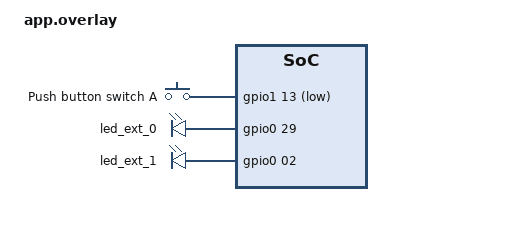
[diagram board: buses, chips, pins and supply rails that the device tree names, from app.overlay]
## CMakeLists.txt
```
#
# Copyright (c) 2021 Nordic Semiconductor
#
# SPDX-License-Identifier: LicenseRef-Nordic-5-Clause
#
cmake_minimum_required(VERSION 3.20)

find_package(Zephyr REQUIRED HINTS $ENV{ZEPHYR_BASE})
project(Sample1)

# NORDIC SDK APP START
target_sources(app PRIVATE
  src/battery_monitor.c
  src/ble_manager.c
  src/button_monitor.c
  src/main.c
  src/my_gpio.c
  )
# NORDIC SDK APP END

zephyr_library_include_directories(${CMAKE_CURRENT_SOURCE_DIR})
```

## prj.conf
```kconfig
#
# Copyright (c) 2021 Nordic Semiconductor ASA
#
# SPDX-License-Identifier: LicenseRef-Nordic-5-Clause
#

CONFIG_NCS_SAMPLES_DEFAULTS=y

# Enable the NUS service
CONFIG_BT_NUS=y

CONFIG_BT=y
CONFIG_BT_PERIPHERAL=y
CONFIG_BT_DEVICE_NAME="WAPA"
CONFIG_BT_DEVICE_APPEARANCE=512
CONFIG_BT_DEVICE_NAME_DYNAMIC=y

CONFIG_BT_EXT_ADV=y
CONFIG_BT_EXT_ADV_MAX_ADV_SET=2

CONFIG_BT_DIS=y
CONFIG_BT_DIS_PNP=y
CONFIG_BT_DIS_MANUF="Nordic Semiconductor ASA"
CONFIG_BT_DIS_PNP_VID_SRC=2
CONFIG_BT_DIS_PNP_VID=0x1915
CONFIG_BT_DIS_PNP_PID=0xEEF1
CONFIG_BT_DIS_PNP_VER=0x0100

CONFIG_DK_LIBRARY=y

# Enable ADC
CONFIG_NRFX_SAADC=y

#PHY update needed for updating PHY request
CONFIG_BT_CTLR_PHY_CODED=y
CONFIG_BT_CTLR_ADV_EXT=y
CONFIG_BT_EXT_ADV=y
CONFIG_BT_USER_PHY_UPDATE=y

# Adjust connection interval, timout, and latency, and automatically request update
#  * 1.25ms = 500ms
 # 1600 * 1.25ms = 2000ms
 # 700 * 10ms = 7000ms
CONFIG_BT_GAP_AUTO_UPDATE_CONN_PARAMS=y
CONFIG_BT_PERIPHERAL_PREF_MIN_INT=24 
CONFIG_BT_PERIPHERAL_PREF_MAX_INT=80
CONFIG_BT_PERIPHERAL_PREF_LATENCY=0
CONFIG_BT_PERIPHERAL_PREF_TIMEOUT= 100 
```

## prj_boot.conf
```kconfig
#
# Copyright (c) 2021 Nordic Semiconductor ASA
#
# SPDX-License-Identifier: LicenseRef-Nordic-5-Clause
#

CONFIG_NCS_SAMPLES_DEFAULTS=y

# Enable the NUS service
CONFIG_BT_NUS=y

CONFIG_BT=y
CONFIG_BT_PERIPHERAL=y
CONFIG_BT_DEVICE_NAME="WAPA"
CONFIG_BT_DEVICE_APPEARANCE=512
CONFIG_BT_DEVICE_NAME_DYNAMIC=y

CONFIG_BT_EXT_ADV=y
CONFIG_BT_EXT_ADV_MAX_ADV_SET=2

CONFIG_BT_DIS=y
CONFIG_BT_DIS_PNP=y
CONFIG_BT_DIS_MANUF="Nordic Semiconductor ASA"
CONFIG_BT_DIS_PNP_VID_SRC=2
CONFIG_BT_DIS_PNP_VID=0x1915
CONFIG_BT_DIS_PNP_PID=0xEEF1
CONFIG_BT_DIS_PNP_VER=0x0100

# Access to DK libraries
CONFIG_DK_LIBRARY=y

# Enable ADC
CONFIG_NRFX_SAADC=y

# DEBUG
CONFIG_DEBUG=y
CONFIG_DEBUG_OPTIMIZATIONS=y
CONFIG_DEBUG_THREAD_INFO=y

# Program with J-link
CONFIG_BOARD_HAS_NRF5_BOOTLOADER=n

# PHY update needed for updating PHY request
CONFIG_BT_CTLR_PHY_CODED=y
CONFIG_BT_CTLR_ADV_EXT=y
CONFIG_BT_EXT_ADV=y
CONFIG_BT_USER_PHY_UPDATE=y

# Adjust connection interval, timout, and latency, and automatically request update
# 400 * 1.25ms = 500ms
 # 1600 * 1.25ms = 2000ms
 # 700 * 10ms = 7000ms
CONFIG_BT_GAP_AUTO_UPDATE_CONN_PARAMS=y
CONFIG_BT_PERIPHERAL_PREF_MIN_INT=400 
CONFIG_BT_PERIPHERAL_PREF_MAX_INT=1600
CONFIG_BT_PERIPHERAL_PREF_LATENCY=0
CONFIG_BT_PERIPHERAL_PREF_TIMEOUT= 700 
```

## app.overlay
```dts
/*
 * Copyright (c) 2023 Nordic Semiconductor ASA
 *
 * SPDX-License-Identifier: LicenseRef-Nordic-5-Clause
 */

/ {
	/* The timer instance to use. */
	chosen {
		ncs,dm-timer = &timer2;
	};

	buttons {
		compatible = "gpio-keys";
		buttonA: buttonA_subnode {
			gpios = <&gpio1 13 (GPIO_PULL_UP | GPIO_ACTIVE_LOW)>;
			label = "Push button switch A";
			zephyr,code = <INPUT_KEY_0>;
		};
	};

	leds {
		led_ext_0 {
			gpios = <&gpio0 29 0>;
		};

		led_ext_1 {
			gpios = <&gpio0 02 0>;
		};
	};
};
```

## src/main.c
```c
#include "my_gpio.h"
#include "ble_manager.h"
#include "battery_monitor.h"
#include "button_monitor.h"

const int battery_check_period_sec = 3600;

int main(void)
{
	// Initialize GPIO
    leds_init();
	buttons_init(handler);

	// Initialize BLE
	setup_ble();

	// Initialize battery monitor
    struct k_timer my_timer;
    init_saadc(&my_timer,battery_check_period_sec);

	while(1){
		k_sleep(K_MSEC(1000));
        set_led_on(LED_INT_GREEN);
        k_sleep(K_MSEC(1000));
        set_led_off(LED_INT_GREEN);
	}    
}

// Handle detected sequences of button presses
K_THREAD_DEFINE(hpm, 1024, hold_press_monitor, NULL, NULL,
		NULL, 7, 0, 0);
K_THREAD_DEFINE(tpm, 1024, triple_press_monitor, NULL, NULL,
	NULL, 7, 0, 0);
K_THREAD_DEFINE(crm, 1024, connection_request_monitor, NULL, NULL,
	NULL, 7, 0, 0);
```

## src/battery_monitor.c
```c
#include <nrfx_saadc.h>
#include <zephyr/kernel.h>
#include "my_gpio.h"

#define SAADC_CHANNEL_COUNT   1

#define VDD_CHANNEL 0
#define LIM_L   2275  // 2.0V TODO define in terms of res,refV, gain

static nrfx_saadc_channel_t channels[SAADC_CHANNEL_COUNT] = {NRFX_SAADC_DEFAULT_CHANNEL_SE(NRF_SAADC_INPUT_VDD, VDD_CHANNEL)};
static nrf_saadc_value_t samples[SAADC_CHANNEL_COUNT];


static void saadc_handler(nrfx_saadc_evt_t const * p_event)
{
    if (p_event->type == NRFX_SAADC_EVT_DONE)
    {
        if (p_event->data.done.p_buffer[0] < LIM_L)
        {
            set_led_on(LED_WARNING);
        }
        else
        {
            set_led_off(LED_WARNING);
        }
    }
}

void my_timer_handler(struct k_timer *dummy)
{
    nrfx_saadc_mode_trigger();
}

int init_saadc(struct k_timer *reading_timer, int period_sec)
{
    int err_code;

    err_code = nrfx_saadc_init(7);
    

	#if defined(__ZEPHYR__)
        IRQ_DIRECT_CONNECT(NRFX_IRQ_NUMBER_GET(NRF_SAADC), IRQ_PRIO_LOWEST, nrfx_saadc_irq_handler, 0);
    #endif

 
    channels[0].channel_config.gain = NRF_SAADC_GAIN1_6;
    
    
    err_code = nrfx_saadc_channels_config(channels, SAADC_CHANNEL_COUNT);
    
    err_code = nrfx_saadc_simple_mode_set((1<<0),
											NRF_SAADC_RESOLUTION_12BIT,
											NRF_SAADC_OVERSAMPLE_DISABLED,
											saadc_handler);

	
	err_code = nrfx_saadc_buffer_set(samples, SAADC_CHANNEL_COUNT);

   
    k_timer_init (reading_timer,my_timer_handler, NULL);
	k_timer_start(reading_timer, K_SECONDS(period_sec), K_SECONDS(period_sec));
    
    return 0;
}
```

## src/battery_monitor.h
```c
#ifndef _H_BATTERY_MONITOR__
#define _H_BATTERY_MONITOR__
#include <zephyr/kernel.h>

int init_saadc(struct k_timer *reading_timer, int period_sec);

#endif // _H_BATTERY_MONITOR__
```

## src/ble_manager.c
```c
#include <zephyr/bluetooth/bluetooth.h>
#include <zephyr/bluetooth/conn.h>
#include <zephyr/bluetooth/uuid.h>
#include <bluetooth/services/nus.h>

#include "ble_manager.h"
#include "my_gpio.h"
#include "button_monitor.h"

#define NON_CONNECTABLE_ADV_IDX 0
#define CONNECTABLE_ADV_IDX     1

#define UART_BUF_SIZE 5

bool okayed_by_user = false;
char last_addr[BT_ADDR_LE_STR_LEN];


struct bt_conn *most_recent_conn = NULL;

static void advertising_work_handle(struct k_work *work);

static K_WORK_DEFINE(advertising_work, advertising_work_handle);

static struct bt_le_ext_adv *ext_adv[CONFIG_BT_EXT_ADV_MAX_ADV_SET];

static const struct bt_le_adv_param *connectable_adv_param =
	BT_LE_ADV_PARAM(BT_LE_ADV_OPT_CONNECTABLE | BT_LE_ADV_OPT_USE_NAME | BT_LE_ADV_OPT_EXT_ADV | BT_LE_ADV_OPT_CODED,
			BT_GAP_ADV_FAST_INT_MIN_2, /* 100 ms */
			BT_GAP_ADV_FAST_INT_MAX_2, /* 150 ms */
			NULL);

static const struct bt_data connectable_data[] = {
	BT_DATA_BYTES(BT_DATA_FLAGS, BT_LE_AD_GENERAL | BT_LE_AD_NO_BREDR),
	BT_DATA_BYTES(BT_DATA_UUID16_ALL, BT_UUID_16_ENCODE(BT_UUID_DIS_VAL))
};

#define BT_UUID_MYID_SERV_VAL \
BT_UUID_128_ENCODE(0x6e4073a1, 0xb5a3, 0xf393, 0xe0a9, 0xe50e24dcca9e)
#define BT_UUID_MYID_SERV BT_UUID_DECLARE_128(BT_UUID_MYID_SERV_VAL)

#define BT_UUID_MYID_CHAR_VAL \
BT_UUID_128_ENCODE(0x6e4003a1, 0xb5a3, 0xf393, 0xe0a9, 0xe50e24dcca9e)
#define BT_UUID_MYID_CHAR BT_UUID_DECLARE_128(BT_UUID_MYID_CHAR_VAL)

uint64_t myid = 0x0000000000000000;

char state = 'U';

static void adv_connected_cb(struct bt_le_ext_adv *adv,
			     struct bt_le_ext_adv_connected_info *info)
{
	printk("Advertiser[%d] %p connected conn %p\n", bt_le_ext_adv_get_index(adv),
		adv, info->conn);
}

static const struct bt_le_ext_adv_cb adv_cb = {
	.connected = adv_connected_cb
};

static void connectable_adv_start(void)
{
	int err;

	err = bt_le_ext_adv_start(ext_adv[CONNECTABLE_ADV_IDX], BT_LE_EXT_ADV_START_DEFAULT);
	if (err) {
		printk("Failed to start connectable advertising (err %d)\n", err);
	}
}

static void advertising_work_handle(struct k_work *work)
{
	connectable_adv_start();
}

static void connected(struct bt_conn *conn, uint8_t err)
{
	char addr[BT_ADDR_LE_STR_LEN];

	if (err) {
		printk("Connection failed (err %u)\n", err);
		return;
	}

	bt_addr_le_to_str(bt_conn_get_dst(conn), addr, sizeof(addr));

	printk("Connected %s\n", addr);

	err = bt_conn_le_phy_update(conn, BT_CONN_LE_PHY_PARAM_CODED);
	if (err) {
		printk("Phy update request failed: %d",  err);
	}
	else {
		printk("Phy update request succeeded");
	}

	state = 'C';
	most_recent_conn = conn;
	
	k_sem_give(&new_cnx);
}

static void disconnected(struct bt_conn *conn, uint8_t reason)
{
	char addr[BT_ADDR_LE_STR_LEN];

	bt_addr_le_to_str(bt_conn_get_dst(conn), addr, sizeof(addr));

	printk("Disconnected: %s (reason %u)\n", addr, reason);

	/* Process the disconnect logic in the workqueue so that
	 * the BLE stack is finished with the connection bookkeeping
	 * logic and advertising is possible.
	 */
	k_work_submit(&advertising_work);

	state = 'U';
	set_led_off(LED_STATUS);
}

BT_CONN_CB_DEFINE(conn_callbacks) = {
	.connected = connected,
	.disconnected = disconnected,
};

static int advertising_set_create(struct bt_le_ext_adv **adv,
				  const struct bt_le_adv_param *param,
				  const struct bt_data *ad, size_t ad_len)
{
	int err;
	struct bt_le_ext_adv *adv_set;

	err = bt_le_ext_adv_create(param, &adv_cb,
				   adv);
	if (err) {
		return err;
	}

	adv_set = *adv;

	printk("Created adv: %p\n", adv_set);

	err = bt_le_ext_adv_set_data(adv_set, ad, ad_len,
				     NULL, 0);
	if (err) {
		printk("Failed to set advertising data (err %d)\n", err);
		return err;
	}

	return bt_le_ext_adv_start(adv_set, BT_LE_EXT_ADV_START_DEFAULT);
}

// creates connectable advertisement
static int connectable_adv_create(void)
{
	int err;

	err = bt_set_name(CONFIG_BT_DEVICE_NAME);
	if (err) {
		printk("Failed to set device name (err %d)\n", err);
		return err;
	}

	err = advertising_set_create(&ext_adv[CONNECTABLE_ADV_IDX], connectable_adv_param,
				     connectable_data, ARRAY_SIZE(connectable_data));
	if (err) {
		printk("Failed to create a connectable advertising set (err %d)\n", err);
	}

	return err;
}

static void bt_receive_cb(struct bt_conn *conn, const uint8_t *const data,
			  uint16_t len)
{
	set_led(LED_INT_RGB_GREEN, 1);
}

static struct bt_nus_cb nus_cb = {
	.received = bt_receive_cb,
	.send_enabled = BT_NUS_SEND_STATUS_ENABLED,
};


static ssize_t read_vnd(struct bt_conn *conn, const struct bt_gatt_attr *attr,
   void *buf, uint16_t len, uint16_t offset){

 return bt_gatt_attr_read(conn, attr, buf, len, offset, &myid,
     8);
}

BT_GATT_SERVICE_DEFINE(myid_svc,
  BT_GATT_PRIMARY_SERVICE(BT_UUID_MYID_SERV),
  BT_GATT_CHARACTERISTIC(BT_UUID_MYID_CHAR,
			       BT_GATT_CHRC_BROADCAST | BT_GATT_CHRC_READ,
			       BT_GATT_PERM_READ,
				   read_vnd, NULL, NULL),
);


int setup_ble(void){
	int err = bt_enable(NULL); // enabling BT done synchronously
	if (err) {
		printk("Bluetooth init failed (err %d)\n", err);
		return 1;
	}
	printk("Bluetooth initialized\n");

	err = bt_nus_init(&nus_cb);
	if (err) {
		printk("Failed to initialize UART service (err %d)\n", err);
		return 1;
	}
	printk("UART service initialized\n");

	// get device's unique id
	uint32_t a = NRF_FICR->DEVICEID[0];
	uint32_t b = NRF_FICR->DEVICEID[1] & 0x0000FFFF;
	myid = (((uint64_t) b) << 32) | a;

	err = connectable_adv_create();
	if (err) {
		printk("Failed to create connectable advertising (err %d)\n", err);
		return 1;
	}
	return 0;
}

// TODO - in future support reaching out to "strangers" if we cant connect to user 
bool send_msg(uint8_t *data,uint16_t len){
	int64_t beg_time = k_uptime_get();
	while (bt_nus_send(NULL, data, len)){
		if (k_uptime_get() - beg_time > 5000){
			printk("Failed to send message\n");
			error_lights();
			return false;
		}
	}
	return true;
}	



void connection_request_monitor(void){
	for (;;) {
		k_sem_take(&new_cnx, K_FOREVER);

		int countdown = 10;
		okayed_by_user = false;
		while(!okayed_by_user){
			set_led_off(LED_STATUS);
			set_led_off(LED_WARNING);
			k_sleep(K_MSEC(1000));
			set_led_on(LED_STATUS);
			set_led_on(LED_WARNING);
			k_sleep(K_MSEC(1000));
			
			if (countdown-- == 0){
				bt_conn_disconnect(most_recent_conn, BT_HCI_ERR_REMOTE_USER_TERM_CONN);
				set_led_off(LED_STATUS);
				set_led_off(LED_WARNING);
				break;
			}
		}
		set_led_off(LED_WARNING);
	}
}
```

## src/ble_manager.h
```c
#ifndef BLE_MANAGER_H__
#define BLE_MANAGER_H__
#include <zephyr/kernel.h>

static K_SEM_DEFINE(new_cnx, 0, 1);
void connection_request_monitor(void);

bool send_msg(uint8_t *data, uint16_t len);
int setup_ble(void);
#endif // BLE_MANAGER_H__s
```

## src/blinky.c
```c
/*
 * Copyright (c) 2021 Nordic Semiconductor ASA
 *
 * SPDX-License-Identifier: LicenseRef-Nordic-5-Clause
 */

/** @file
 *  @brief Nordic Distance Measurement sample
 */


#include <dk_buttons_and_leds.h>
#include <zephyr/kernel.h>


#define DEVICE_NAME             CONFIG_BT_DEVICE_NAME
#define DEVICE_NAME_LEN         (sizeof(DEVICE_NAME) - 1)

#define LED_A          DK_LED1
#define LED_B          DK_LED2
#define RUN_LED_BLINK_INTERVAL  1000 // delay between blinks in ms


int blinky_test(void)
{
	int err;
	uint32_t blink_status = 0;

	err = dk_leds_init();
	if (err) {
		return 0;
	}

	for (;;) {
		dk_set_led(LED_A, (blink_status++) % 2);
		dk_set_led(LED_B,(blink_status) % 2);
		k_sleep(K_MSEC(RUN_LED_BLINK_INTERVAL));
	}
}
```

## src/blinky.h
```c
int blinky_test(void);
```

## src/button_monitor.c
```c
#include "button_monitor.h"
#include "ble_manager.h"
#include "my_gpio.h"

int press_count = 0;
int press_start_time = 0;

char tp_msg[] = {'T','\0'};
char hp_msg[] = {'H','\0'};


void handler (uint32_t button_state, uint32_t has_changed) {
	int64_t current_time = k_uptime_get();

	if(has_changed & (BTN_INT_MSK | BTN_EXT_A_MSK)) { // on board button has changed states
		current_time = k_uptime_get();

		if(button_state & (BTN_INT_MSK | BTN_EXT_A_MSK)) { // pressed
			okayed_by_user = true;
			if (current_time - press_start_time > TRIPLE_PRESS_MAX_TIME) {
				press_count = 0;
			}
			++press_count;
			if(press_count == 1) {
				press_start_time = current_time;
			} else if (press_count == 3) {
				press_count = 0;
				if (current_time - press_start_time < TRIPLE_PRESS_MAX_TIME)
				k_sem_give(&triple_press);
			}
			
		} else { // released
			if (press_count == 1 && (current_time - press_start_time) > HOLD_PRESS_MIN_TIME && (current_time - press_start_time) < HOLD_PRESS_MAX_TIME){
				k_sem_give(&hold_press);
			}
		}
	} 
}

void hold_press_monitor(void){
	for (;;) {
		k_sem_take(&hold_press, K_FOREVER);

		if (send_msg(hp_msg,sizeof(hp_msg))){
			success_lights_alt();
		}
	}
}

void triple_press_monitor(void){
	for (;;) {
		k_sem_take(&triple_press, K_FOREVER);

		if(send_msg(tp_msg, sizeof(tp_msg))){
			success_lights();
		}
	}
}
```

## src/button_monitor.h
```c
#ifndef BUTTON_MONITOR_H__
#define BUTTON_MONITOR_H__

#include <zephyr/kernel.h>
#include "my_gpio.h"

// in milliseconds
#define TRIPLE_PRESS_MAX_TIME 2000
#define HOLD_PRESS_MIN_TIME   3000
#define HOLD_PRESS_MAX_TIME   6000

static K_SEM_DEFINE(hold_press, 0, 1);
static K_SEM_DEFINE(triple_press, 0, 1);

extern bool okayed_by_user;

void handler (uint32_t button_state, uint32_t has_changed);
void hold_press_monitor(void);
void triple_press_monitor(void);

#endif // BUTTON_MONITOR_H__
```

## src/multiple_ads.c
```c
/*
 * Copyright (c) 2021 Nordic Semiconductor ASA
 *
 * SPDX-License-Identifier: LicenseRef-Nordic-5-Clause
 */
#include "multiple_ads.h"
#include <zephyr/kernel.h>
#include <zephyr/sys/printk.h>

#include <zephyr/bluetooth/bluetooth.h>
#include <zephyr/bluetooth/conn.h>
#include <zephyr/bluetooth/uuid.h>

#include <zephyr/settings/settings.h>

#include <dk_buttons_and_leds.h>
#include <bluetooth/services/nus.h>

#define NON_CONNECTABLE_ADV_IDX 0
#define CONNECTABLE_ADV_IDX     1

#define SEND_LED          DK_LED1
#define CON_STATUS_LED          DK_LED2
#define RUN_LED_BLINK_INTERVAL  1000

#define UART_BUF_SIZE 8

#define NON_CONNECTABLE_DEVICE_NAME "Nordic Beacon"

static void advertising_work_handle(struct k_work *work);

static K_WORK_DEFINE(advertising_work, advertising_work_handle);

static struct bt_le_ext_adv *ext_adv[CONFIG_BT_EXT_ADV_MAX_ADV_SET];
static const struct bt_le_adv_param *non_connectable_adv_param =
	BT_LE_ADV_PARAM(BT_LE_ADV_OPT_USE_NAME,
			0x140, /* 200 ms */
			0x190, /* 250 ms */
			NULL);

static const struct bt_le_adv_param *connectable_adv_param =
	BT_LE_ADV_PARAM(BT_LE_ADV_OPT_CONNECTABLE | BT_LE_ADV_OPT_USE_NAME,
			BT_GAP_ADV_FAST_INT_MIN_2, /* 100 ms */
			BT_GAP_ADV_FAST_INT_MAX_2, /* 150 ms */
			NULL);

static const struct bt_data non_connectable_data[] = {
	BT_DATA_BYTES(BT_DATA_FLAGS, BT_LE_AD_NO_BREDR),
	BT_DATA_BYTES(BT_DATA_URI, /* The URI of the https://www.nordicsemi.com website */
		      0x17, /* UTF-8 code point for “https:” */
		      '/', '/', 'w', 'w', 'w', '.',
		      'n', 'o', 'r', 'd', 'i', 'c', 's', 'e', 'm', 'i', '.',
		      'c', 'o', 'm')
};

static const struct bt_data connectable_data[] = {
	BT_DATA_BYTES(BT_DATA_FLAGS, BT_LE_AD_GENERAL | BT_LE_AD_NO_BREDR),
	BT_DATA_BYTES(BT_DATA_UUID16_ALL, BT_UUID_16_ENCODE(BT_UUID_DIS_VAL))
};

static void adv_connected_cb(struct bt_le_ext_adv *adv,
			     struct bt_le_ext_adv_connected_info *info)
{
	printk("Advertiser[%d] %p connected conn %p\n", bt_le_ext_adv_get_index(adv),
		adv, info->conn);
}

static const struct bt_le_ext_adv_cb adv_cb = {
	.connected = adv_connected_cb
};

static void connectable_adv_start(void)
{
	int err;

	err = bt_le_ext_adv_start(ext_adv[CONNECTABLE_ADV_IDX], BT_LE_EXT_ADV_START_DEFAULT);
	if (err) {
		printk("Failed to start connectable advertising (err %d)\n", err);
	}
}

static void advertising_work_handle(struct k_work *work)
{
	connectable_adv_start();
}

void on_press_send(){
	uint8_t data[UART_BUF_SIZE];
	data[0] = 0x01;
	data[1] = 0x02;
	data[2] = 0x03;
	data[3] = 0x04;
	data[4] = 0x05;
	data[5] = 0x06;
	data[6] = 0x07;
	data[7] = 0x08;
	uint16_t len = UART_BUF_SIZE;

	while (bt_nus_send(NULL, data, len)){
		dk_set_led(SEND_LED, 1);
		k_sleep(K_MSEC(500));
		dk_set_led(SEND_LED, 0);
		k_sleep(K_MSEC(500));
	}	
}	


static void connected(struct bt_conn *conn, uint8_t err)
{
	char addr[BT_ADDR_LE_STR_LEN];

	if (err) {
		printk("Connection failed (err %u)\n", err);
		return;
	}

	bt_addr_le_to_str(bt_conn_get_dst(conn), addr, sizeof(addr));

	dk_set_led_on(CON_STATUS_LED);

	printk("Connected %s\n", addr);
}

static void disconnected(struct bt_conn *conn, uint8_t reason)
{
	char addr[BT_ADDR_LE_STR_LEN];

	bt_addr_le_to_str(bt_conn_get_dst(conn), addr, sizeof(addr));

	dk_set_led_off(CON_STATUS_LED);

	printk("Disconnected: %s (reason %u)\n", addr, reason);

	/* Process the disconnect logic in the workqueue so that
	 * the BLE stack is finished with the connection bookkeeping
	 * logic and advertising is possible.
	 */
	k_work_submit(&advertising_work);
}

BT_CONN_CB_DEFINE(conn_callbacks) = {
	.connected = connected,
	.disconnected = disconnected,
};

static int advertising_set_create(struct bt_le_ext_adv **adv,
				  const struct bt_le_adv_param *param,
				  const struct bt_data *ad, size_t ad_len)
{
	int err;
	struct bt_le_ext_adv *adv_set;

	err = bt_le_ext_adv_create(param, &adv_cb,
				   adv);
	if (err) {
		return err;
	}

	adv_set = *adv;

	printk("Created adv: %p\n", adv_set);

	err = bt_le_ext_adv_set_data(adv_set, ad, ad_len,
				     NULL, 0);
	if (err) {
		printk("Failed to set advertising data (err %d)\n", err);
		return err;
	}

	return bt_le_ext_adv_start(adv_set, BT_LE_EXT_ADV_START_DEFAULT);
}

// creates non connectable advertisement
static int non_connectable_adv_create(void)
{
	int err;

	err = bt_set_name(NON_CONNECTABLE_DEVICE_NAME);
	if (err) {
		printk("Failed to set device name (err %d)\n", err);
		return err;
	}

	err = advertising_set_create(&ext_adv[NON_CONNECTABLE_ADV_IDX], non_connectable_adv_param,
				     non_connectable_data, ARRAY_SIZE(non_connectable_data));
	if (err) {
		printk("Failed to create a non-connectable advertising set (err %d)\n", err);
	}

	return err;
}

// creates connectable advertisement
static int connectable_adv_create(void)
{
	int err;

	err = bt_set_name(CONFIG_BT_DEVICE_NAME);
	if (err) {
		printk("Failed to set device name (err %d)\n", err);
		return err;
	}

	err = advertising_set_create(&ext_adv[CONNECTABLE_ADV_IDX], connectable_adv_param,
				     connectable_data, ARRAY_SIZE(connectable_data));
	if (err) {
		printk("Failed to create a connectable advertising set (err %d)\n", err);
	}

	return err;
}


int multiple_ads(void)
{
	int err;

	printk("Starting Bluetooth multiple advertising sets example\n");

	err = dk_leds_init();
	if (err) {
		printk("LEDs init failed (err %d)\n", err);
		return 0;
	}

	err = bt_enable(NULL); // NULL -> no callback to notify completion -> enabling BT dont synchronously
	if (err) {
		printk("Bluetooth init failed (err %d)\n", err);
		return 0;
	}

	printk("Bluetooth initialized\n");

	err = bt_nus_init(NULL);
	if (err) {
		printk("Failed to initialize UART service (err %d)\n", err);
		return 0;
	}

	err = non_connectable_adv_create();
	if (err) {
		return 0;
	}

	printk("Non-connectable advertising started\n");

	err = connectable_adv_create();
	if (err) {
		return 0;
	}

	printk("Connectable advertising started\n");
	dk_buttons_init(on_press_send);
	
	return 0;

	// for (;;) {
	// 	dk_set_led(RUN_STATUS_LED, (++blink_status) % 2);
	// 	k_sleep(K_MSEC(RUN_LED_BLINK_INTERVAL));
	// }
}
```

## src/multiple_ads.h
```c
int multiple_ads(void);
```

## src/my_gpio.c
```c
/*
 * Copyright (c) 2018 Nordic Semiconductor ASA
 *
 * SPDX-License-Identifier: LicenseRef-Nordic-5-Clause
 */

#include <zephyr/kernel.h>
// #include <soc.h>
// #include <zephyr/device.h>
#include <zephyr/drivers/gpio.h>
#include <zephyr/sys/util.h>
#include <zephyr/logging/log.h>
// #include <nrfx.h>

#include "my_gpio.h"

LOG_MODULE_REGISTER(my_gpio_log, CONFIG_DK_LIBRARY_LOG_LEVEL);

#define BUTTONS_NODE DT_PATH(buttons)
#define LEDS_NODE DT_PATH(leds)


#define GPIO0_DEV DEVICE_DT_GET(DT_NODELABEL(gpio0))
#define GPIO1_DEV DEVICE_DT_GET_OR_NULL(DT_NODELABEL(gpio1))

/* GPIO0, GPIO1 and GPIO expander devices require different interrupt flags. */
#define FLAGS_GPIO_0_1_ACTIVE GPIO_INT_LEVEL_ACTIVE
#define FLAGS_GPIO_EXP_ACTIVE (GPIO_INT_EDGE | GPIO_INT_HIGH_1 | GPIO_INT_LOW_0 | GPIO_INT_ENABLE)

#define GPIO_SPEC_AND_COMMA(button_or_led) GPIO_DT_SPEC_GET(button_or_led, gpios),

static const struct gpio_dt_spec buttons[] = {
#if DT_NODE_EXISTS(BUTTONS_NODE)
	DT_FOREACH_CHILD(BUTTONS_NODE, GPIO_SPEC_AND_COMMA)
#endif
};

static const struct gpio_dt_spec leds[] = {
#if DT_NODE_EXISTS(LEDS_NODE)
	DT_FOREACH_CHILD(LEDS_NODE, GPIO_SPEC_AND_COMMA)
#endif
};


enum state {
	STATE_WAITING,
	STATE_SCANNING,
};

static enum state state;
static struct k_work_delayable buttons_scan;
static button_handler_t button_handler_cb;
static atomic_t my_buttons_atomic;
static struct gpio_callback gpio_cb;
static struct k_spinlock lock;
static sys_slist_t button_handlers;
static struct k_mutex button_handler_mut;
static bool irq_enabled;

static int callback_ctrl(bool enable)
{
	int err = 0;
	gpio_flags_t flags;

	/* This must be done with irqs disabled to avoid pin callback
	 * being fired before others are still not activated.
	 */
	for (size_t i = 0; (i < ARRAY_SIZE(buttons)) && !err; i++) {
		if (enable) {
			flags = ((buttons[i].port == GPIO0_DEV || buttons[i].port == GPIO1_DEV) ?
					 FLAGS_GPIO_0_1_ACTIVE :
					 FLAGS_GPIO_EXP_ACTIVE);
		} else {
			flags = GPIO_INT_DISABLE;
		}

		err = gpio_pin_interrupt_configure_dt(&buttons[i], flags);
		if (err) {
			LOG_ERR("GPIO IRQ config failed, err: %d", err);
			return err;
		}
	}

	return err;
}

static uint32_t get_buttons(void)
{
	uint32_t ret = 0;
	for (size_t i = 0; i < ARRAY_SIZE(buttons); i++) {
		int val;

		val = gpio_pin_get_dt(&buttons[i]);
		if (val < 0) {
			LOG_ERR("Cannot read gpio pin");
			return 0;
		}
		if (val) {
			ret |= 1U << i;
		}
	}

	return ret;
}

static void button_handlers_call(uint32_t button_state, uint32_t has_changed)
{
	struct btn_handler *handler;

	if (button_handler_cb != NULL) {
		button_handler_cb(button_state, has_changed);
	}

	if (IS_ENABLED(CONFIG_DK_LIBRARY_DYNAMIC_BUTTON_HANDLERS)) {
		k_mutex_lock(&button_handler_mut, K_FOREVER);
		SYS_SLIST_FOR_EACH_CONTAINER(&button_handlers, handler, node) {
			handler->cb(button_state, has_changed);
		}
		k_mutex_unlock(&button_handler_mut);
	}
}

static void buttons_scan_fn(struct k_work *work)
{
	int err;
	static uint32_t last_button_scan;
	static bool initial_run = true;
	uint32_t button_scan;

	if (irq_enabled) {
		/* Disable GPIO interrupts for edge triggered devices.
		 * Devices that are configured with active high interrupts are already disabled.
		 */
		err = callback_ctrl(false);
		if (err) {
			LOG_ERR("Cannot disable callbacks");
			return;
		}

		irq_enabled = false;
	}

	button_scan = get_buttons();
	atomic_set(&my_buttons_atomic, (atomic_val_t)button_scan);

	if (!initial_run) {
		if (button_scan != last_button_scan) {
			uint32_t has_changed = (button_scan ^ last_button_scan);

			button_handlers_call(button_scan, has_changed);
		}
	} else {
		initial_run = false;
	}

	last_button_scan = button_scan;

	if (button_scan != 0) {
		k_work_reschedule(&buttons_scan,
		  K_MSEC(CONFIG_DK_LIBRARY_BUTTON_SCAN_INTERVAL));
	} else {
		/* If no button is pressed module can switch to callbacks */
		int err = 0;

		k_spinlock_key_t key = k_spin_lock(&lock);

		switch (state) {
		case STATE_SCANNING:
			state = STATE_WAITING;
			err = callback_ctrl(true);
			irq_enabled = true;
			break;

		default:
			/* Do nothing */
			break;
		}

		k_spin_unlock(&lock, key);

		if (err) {
			LOG_ERR("Cannot enable callbacks");
		}
	}
}

void check_error(int err_code)
{
    if(!err_code)
    {
        return;
    }

    for(;;){
        set_led_on(LED_INT_RGB_RED);
        k_sleep(K_MSEC(1000));
        set_led_off(LED_INT_RGB_RED);\
        k_sleep(K_MSEC(1000));

        for (int i = 0; i < 4 ; i++){
            set_led_on(LED_INT_RGB_RED);
            k_sleep(K_MSEC(250));
            set_led_off(LED_INT_RGB_RED);
            k_sleep(K_MSEC(250));
        }
    }
}

int leds_init(void)
{
	int err;

	for (size_t i = 0; i < ARRAY_SIZE(leds); i++) {
		err = gpio_pin_configure_dt(&leds[i], GPIO_OUTPUT);
		if (err) {
			LOG_ERR("Cannot configure LED gpio");
			return err;
		}
	}

	return set_leds_state(NO_LEDS_MSK, ALL_LEDS_MSK);
}

static void button_pressed(const struct device *gpio_dev, struct gpio_callback *cb,
		    uint32_t pins)
{
	int err;
	k_spinlock_key_t key = k_spin_lock(&lock);

	switch (state) {
	case STATE_WAITING:
		if (gpio_dev == GPIO0_DEV || gpio_dev == GPIO1_DEV) {
			/* GPIO0 & GPIO1 has active high triggered interrupts and must be
			 * disabled here to avoid successive events from blocking the
			 * buttons_scan_fn function.
			 */
			err = callback_ctrl(false);
			if (err) {
				LOG_ERR("Failed disabling interrupts");
			}
			irq_enabled = false;
		}

		state = STATE_SCANNING;
		k_work_reschedule(&buttons_scan, K_MSEC(1));
		break;

	case STATE_SCANNING:
	default:
		/* Do nothing */
		break;
	}

	k_spin_unlock(&lock, key);
}


int buttons_init(button_handler_t button_handler)
{
	int err;

	button_handler_cb = button_handler;

	if (IS_ENABLED(CONFIG_DK_LIBRARY_DYNAMIC_BUTTON_HANDLERS)) {
		k_mutex_init(&button_handler_mut);
	}

	for (size_t i = 0; i < ARRAY_SIZE(buttons); i++) {
		/* Enable pull resistor towards the inactive voltage. */
		gpio_flags_t flags =
			buttons[i].dt_flags & GPIO_ACTIVE_LOW ?
			GPIO_PULL_UP : GPIO_PULL_DOWN;
		err = gpio_pin_configure_dt(&buttons[i], GPIO_INPUT | flags);

		if (err) {
			LOG_ERR("Cannot configure button gpio");
			return err;
		}
	}

	uint32_t pin_mask = 0;

	for (size_t i = 0; i < ARRAY_SIZE(buttons); i++) {
		/* Module starts in scanning mode and will switch to
		 * callback mode if no button is pressed.
		 */
		err = gpio_pin_interrupt_configure_dt(&buttons[i],
						      GPIO_INT_DISABLE);
		if (err) {
			LOG_ERR("Cannot disable callbacks()");
			return err;
		}

		pin_mask |= BIT(buttons[i].pin);
	}

	gpio_init_callback(&gpio_cb, button_pressed, pin_mask);

	for (size_t i = 0; i < ARRAY_SIZE(buttons); i++) {
		err = gpio_add_callback(buttons[i].port, &gpio_cb);
		if (err) {
			LOG_ERR("Cannot add callback");
			return err;
		}
	}

	k_work_init_delayable(&buttons_scan, buttons_scan_fn);

	state = STATE_SCANNING;

	k_work_schedule(&buttons_scan, K_NO_WAIT);

	read_buttons(NULL, NULL);

	atomic_set(&my_buttons_atomic, (atomic_val_t)get_buttons());

	return 0;
}

#ifdef CONFIG_DK_LIBRARY_DYNAMIC_BUTTON_HANDLERS
void button_handler_add(struct btn_handler *handler)
{
	k_mutex_lock(&button_handler_mut, K_FOREVER);
	sys_slist_append(&button_handlers, &handler->node);
	k_mutex_unlock(&button_handler_mut);
}

int button_handler_remove(struct btn_handler *handler)
{
	bool found;

	k_mutex_lock(&button_handler_mut, K_FOREVER);
	found = sys_slist_find_and_remove(&button_handlers, &handler->node);
	k_mutex_unlock(&button_handler_mut);

	return found ? 0 : -ENOENT;
}
#endif

void read_buttons(uint32_t *button_state, uint32_t *has_changed)
{
	static uint32_t last_state;
	uint32_t current_state = atomic_get(&my_buttons_atomic);

	if (button_state != NULL) {
		*button_state = current_state;
	}

	if (has_changed != NULL) {
		*has_changed = (current_state ^ last_state);
	}

	last_state = current_state;
}

uint32_t retrieve_button_states(void)
{
	return atomic_get(&my_buttons_atomic);
}

int set_leds(uint32_t leds)
{
	return set_leds_state(leds, ALL_LEDS_MSK);
}

int set_leds_state(uint32_t leds_on_mask, uint32_t leds_off_mask)
{
	if ((leds_on_mask & ~ALL_LEDS_MSK) != 0 ||
	   (leds_off_mask & ~ALL_LEDS_MSK) != 0) {
		return -EINVAL;
	}

	for (size_t i = 0; i < ARRAY_SIZE(leds); i++) {
		int val, err;

		if (BIT(i) & leds_on_mask) {
			val = 1;
		} else if (BIT(i) & leds_off_mask) {
			val = 0;
		} else {
			continue;
		}

		err = gpio_pin_set_dt(&leds[i], val);
		if (err) {
			LOG_ERR("Cannot write LED gpio");
			return err;
		}
	}

	return 0;
}

int set_led(uint8_t led_idx, uint32_t val)
{
	int err;

	if (led_idx >= ARRAY_SIZE(leds)) {
		LOG_ERR("LED index out of the range");
		return -EINVAL;
	}
	err = gpio_pin_set_dt(&leds[led_idx], val);
	if (err) {
		LOG_ERR("Cannot write LED gpio");
	}
	return err;
}


int set_led_on(uint8_t led_idx)
{
	return set_led(led_idx, 1);
}

int set_led_off(uint8_t led_idx)
{
	return set_led(led_idx, 0);
}


void success_lights()
{
	for (int i = 0; i < 20 ; i++){
		set_led_on(LED_STATUS);
		k_sleep(K_MSEC(50));
		set_led_off(LED_STATUS);
		k_sleep(K_MSEC(50));
	}
	set_led_on(LED_STATUS);
}

void success_lights_alt()
{
	for (int i = 0; i < 4 ; i++){
		set_led_on(LED_STATUS);
		k_sleep(K_MSEC(350));
		set_led_off(LED_STATUS);
		k_sleep(K_MSEC(150));
	}
	set_led_on(LED_STATUS);
}

void error_lights()
{
	for (int i = 0; i < 4 ; i++){
		set_led_on(LED_WARNING);
		k_sleep(K_MSEC(250));
		set_led_off(LED_WARNING);
		k_sleep(K_MSEC(250));
	}
}
```

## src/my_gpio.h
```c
/*
 * Copyright (c) 2018 Nordic Semiconductor ASA
 *
 * SPDX-License-Identifier: LicenseRef-Nordic-5-Clause
 */

#ifndef MY_GPIO_H__
#define MY_GPIO_H__

#include <zephyr/types.h>
#include <zephyr/sys/slist.h>

// ------------------ \ LEDs / ------------------
#define LED_INT_GREEN       0
#define LED_INT_RGB_RED     1
#define LED_INT_RGB_GREEN   2
#define LED_INT_RGB_BLUE    3
#define LED_STATUS       4
#define LED_WARNING       5

#define LED_INT_GREEN_MSK          BIT(LED_INT_GREEN)
#define LED_INT_RGB_RED_MSK        BIT(LED_INT_RGB_RED)
#define LED_INT_RGB_GREEN_MSK      BIT(LED_INT_RGB_GREEN)
#define LED_INT_RGB_BLUE_MSK       BIT(LED_INT_RGB_BLUE)
#define LED_STATUS_MSK                 BIT(LED_STATUS)
#define LED_WARNING_MSK               BIT(LED_WARNING)

#define NO_LEDS_MSK    (0)
#define ALL_LEDS_MSK   (LED_INT_GREEN_MSK |\
                        LED_INT_RGB_RED_MSK | LED_INT_RGB_GREEN_MSK | LED_INT_RGB_BLUE_MSK | \
                        LED_STATUS_MSK | LED_WARNING_MSK)
// ------------------ / LEDs \ ------------------

// ------------------ \ BTNs / ------------------
#define BTN_INT          0
#define BTN_EXT_A        1

#define BTN_INT_MSK      BIT(BTN_INT)
#define BTN_EXT_A_MSK    BIT(BTN_EXT_A)

#define NO_BTNS_MSK   (0)
#define ALL_BTNS_MSK  (BTN_INT_MSK | BTN_EXT_A_MSK)
// ------------------ / BTNs \ ------------------

/**
 * @typedef button_handler_t
 * @brief Callback that is executed when a button state change is detected.
 *
 * @param button_state Bitmask of button states.
 * @param has_changed Bitmask that shows which buttons have changed.
 */
typedef void (*button_handler_t)(uint32_t button_state, uint32_t has_changed);

/** Button handler list entry. */
struct btn_handler {
	button_handler_t cb; /**< Callback function. */
	sys_snode_t node; /**< Linked list node, for internal use. */
};

/** @brief Initialize the library to control the LEDs.
 *
 *  @retval 0           If the operation was successful.
 *                      Otherwise, a (negative) error code is returned.
 */
int leds_init(void);

/** @brief Initialize the library to read the button state.
 *
 *  @param  btn_handler Callback handler for button state changes.
 *
 *  @retval 0           If the operation was successful.
 *                      Otherwise, a (negative) error code is returned.
 */
int buttons_init(button_handler_t button_handler);

void check_error(int err_code);

/** @brief Add a dynamic button handler callback.
 *
 * In addition to the button handler function passed to
 * @ref dk_buttons_init, any number of button handlers can be added and removed
 * at runtime.
 *
 * @param[in] handler Handler structure. Must point to statically allocated
 * memory.
 */
void button_handler_add(struct btn_handler *handler);

/** @brief Remove a dynamic button handler callback.
 *
 * @param[in] handler Handler to remove.
 *
 * @retval 0 Successfully removed the handler.
 * @retval -ENOENT This button handler was not present.
 */
int button_handler_remove(struct btn_handler *handler);

/** @brief Read current button states.
 *
 *  @param button_state Bitmask of button states.
 *  @param has_changed Bitmask that shows which buttons have changed.
 */
void read_buttons(uint32_t *button_state, uint32_t *has_changed);

/** @brief Get current button state from internal variable.
 *
 *  @return Bitmask of button states.
 */
uint32_t retrieve_button_states(void);

/** @brief Set value of LED pins as specified in one bitmask.
 *
 *  @param  leds Bitmask that defines which LEDs to turn on and off.
 *
 *  @retval 0           If the operation was successful.
 *                      Otherwise, a (negative) error code is returned.
 */
int set_leds(uint32_t leds);


/** @brief Set value of LED pins as specified in two bitmasks.
 *
 *  @param  leds_on_mask  Bitmask that defines which LEDs to turn on.
 *                        If this bitmask overlaps with @p leds_off_mask,
 *                        @p leds_on_mask has priority.
 *
 *  @param  leds_off_mask Bitmask that defines which LEDs to turn off.
 *                        If this bitmask overlaps with @p leds_on_mask,
 *                        @p leds_on_mask has priority.
 *
 *  @retval 0           If the operation was successful.
 *                      Otherwise, a (negative) error code is returned.
 */
int set_leds_state(uint32_t leds_on_mask, uint32_t leds_off_mask);

/** @brief Set a single LED value.
 *
 *  This function turns a single LED on or off.
 *
 *  @param led_idx Index of the LED.
 *  @param val     Value for the LED: 1 - turn on, 0 - turn off
 *
 *  @retval 0           If the operation was successful.
 *                      Otherwise, a (negative) error code is returned.
 *
 *  @sa dk_set_led_on, dk_set_led_off
 */
int set_led(uint8_t led_idx, uint32_t val);

/** @brief Turn a single LED on.
 *
 *  @param led_idx Index of the LED.
 *
 *  @retval 0           If the operation was successful.
 *                      Otherwise, a (negative) error code is returned.
 */
int set_led_on(uint8_t led_idx);

/** @brief Turn a single LED off.
 *
 *  @param led_idx Index of the LED.
 *
 *  @retval 0           If the operation was successful.
 *                      Otherwise, a (negative) error code is returned.
 */
int set_led_off(uint8_t led_idx);

void success_lights();
void success_lights_alt();

void error_lights();



#endif /* MY_GPIO_H__ */
```
